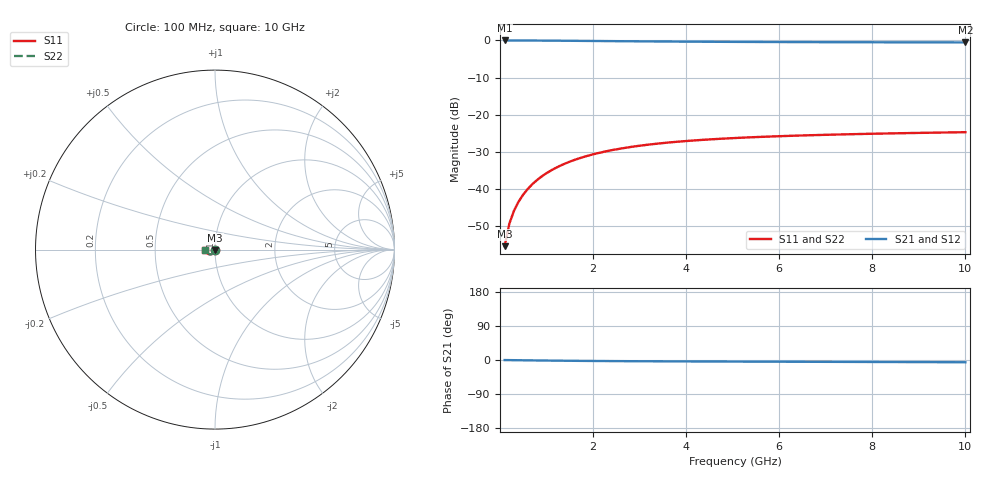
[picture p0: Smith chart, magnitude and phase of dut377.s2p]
! Touchstone file exported from HFSS 2024.1.0
!  File:  C:/UserFiles/LocalFiles/RDL_TSV_Batchsim/temp_TSV1_377_1779622568.aedt
!  Generated:  07:43:55 PM May 24, 2026
!  Design:  TSV1
!  Project:  temp_TSV1_377_1779622568
!  Setup:  Setup1
!  Solution:  Sweep
! Variables:
!  dtsv = 12.1um
!  hbump = 3um
!  htsv = 92.83um
!  lrdl = 252.1521522um
!  p = 40
!  p1 = 54.52um
!  t = 500um
!  trdl = 3um
!  wrdl = 24.89489489um
# GHz S MA R 50.000000
! Terminal data exported
! Port[1] = TSV22_T1
! Port[2] = TSV22_T2
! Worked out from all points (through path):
!   100 points, 100 MHz to 10 GHz, reference 50 ohm
!   highest |S21| = 0.00 dB at 100 MHz (marker M1); lowest = -0.5 dB at 10 GHz (marker M2)
!   lowest |S11| = -55.5 dB at 100 MHz (marker M3), VSWR 1.00, Z = 50 - j0.168 ohm
!   |S11| at or under -10 dB: start of sweep to end of sweep
!   |S22| runs from -55.5 to -24.7 dB; largest |S21 - S12| = 7.1e-15
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0.1  0.001682 -88.2  0.9998 -0.2  0.9998 -0.2  0.001682 -88.2
! Gamma 0 0 0 0
! Port Impedance 50 0 50 0
0.2  0.003358 -91.7  0.9997 -0.3  0.9997 -0.3  0.003358 -91.7
0.3  0.005032 -94.1  0.9994 -0.5  0.9994 -0.5  0.005032 -94.1
0.4  0.006697 -96.3  0.999 -0.6  0.999 -0.6  0.006697 -96.3
0.5  0.008349 -98.3  0.9985 -0.8  0.9985 -0.8  0.008349 -98.3
0.6  0.00998 -100.2  0.9979 -0.9  0.9979 -0.9  0.00998 -100.2
0.7  0.01159 -102.2  0.9972 -1.1  0.9972 -1.1  0.01159 -102.2
0.8  0.01316 -104.0  0.9965 -1.2  0.9965 -1.2  0.01316 -104.0
0.9  0.01471 -105.9  0.9957 -1.3  0.9957 -1.3  0.01471 -105.9
1.1  0.0177 -109.4  0.9938 -1.6  0.9938 -1.6  0.0177 -109.4
1.4  0.02188 -114.5  0.9907 -1.9  0.9907 -1.9  0.02188 -114.5
1.6  0.02446 -117.7  0.9885 -2.2  0.9885 -2.2  0.02446 -117.7
1.8  0.02687 -120.8  0.9862 -2.4  0.9862 -2.4  0.02687 -120.8
2.1  0.03017 -125.1  0.9826 -2.6  0.9826 -2.6  0.03017 -125.1
2.5  0.03401 -130.3  0.9781 -2.9  0.9781 -2.9  0.03401 -130.3
2.9  0.03728 -135.1  0.9737 -3.2  0.9737 -3.2  0.03728 -135.1
3.4  0.0407 -140.4  0.9688 -3.5  0.9688 -3.5  0.0407 -140.4
4.2  0.04496 -147.6  0.9622 -3.8  0.9622 -3.8  0.04496 -147.6
5.1  0.04849 -154.3  0.9563 -4.2  0.9563 -4.2  0.04849 -154.3
6.7  0.05277 -163.8  0.949 -4.8  0.949 -4.8  0.05277 -163.8
8.4  0.0558 -171.8  0.9439 -5.3  0.9439 -5.3  0.0558 -171.8
10  0.05791 -178.0  0.9407 -5.9  0.9407 -5.9  0.05791 -178.0
